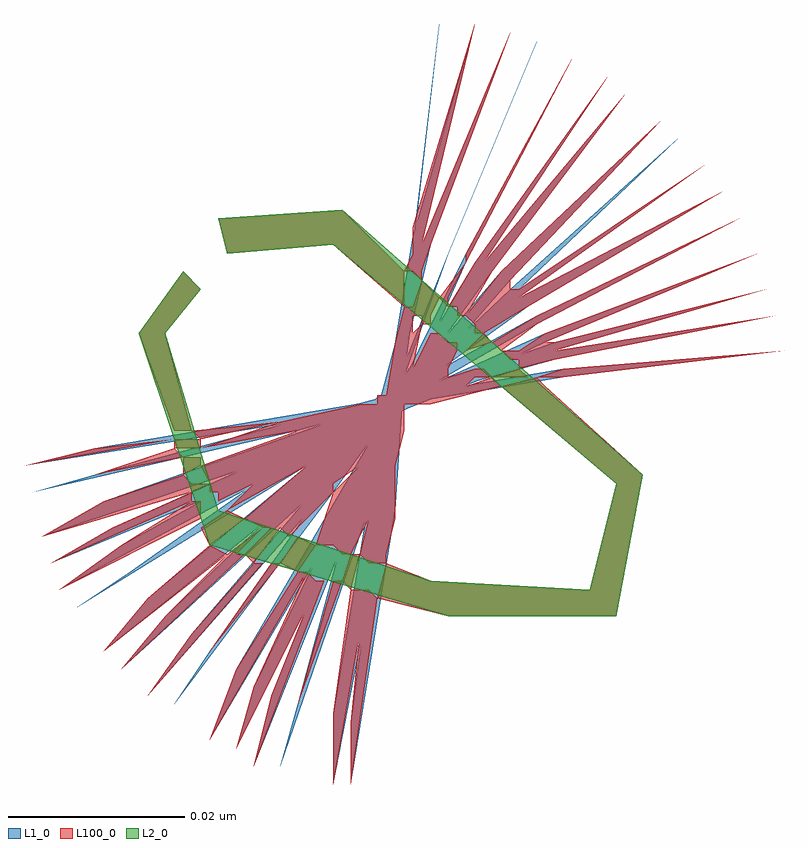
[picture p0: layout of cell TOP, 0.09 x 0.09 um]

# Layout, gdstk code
import gdstk
lib = gdstk.Library(unit=1e-6, precision=1e-09)
def P(c, l, *ps):  # polygons
    for p in ps: c.add(gdstk.Polygon(p, *l))
L1_0 = (1, 0)
L2_0 = (2, 0)
L100_0 = (100, 0)

top = lib.new_cell('TOP')
P(top, L1_0, [(0.366,0.324),(0.374,0.326),(0.427,0.335),(0.452,0.337),(0.427,0.334),(0.397,0.329)],
  [(0.367,0.321),(0.374,0.323),(0.426,0.337),(0.451,0.341),(0.426,0.336),(0.397,0.328)],
  [(0.368,0.316),(0.375,0.32),(0.426,0.338),(0.45,0.344),(0.426,0.337),(0.398,0.326)],
  [(0.369,0.313),(0.376,0.317),(0.425,0.339),(0.449,0.348),(0.425,0.338),(0.398,0.325)],
  [(0.37,0.31),(0.377,0.315),(0.424,0.341),(0.447,0.352),(0.424,0.34),(0.398,0.325)],
  [(0.372,0.308),(0.378,0.312),(0.422,0.343),(0.445,0.355),(0.423,0.342),(0.398,0.324)],
  [(0.375,0.303),(0.38,0.309),(0.422,0.344),(0.443,0.358),(0.422,0.343),(0.4,0.323)],
  [(0.377,0.301),(0.382,0.307),(0.421,0.344),(0.44,0.361),(0.421,0.343),(0.4,0.322)],
  [(0.38,0.298),(0.385,0.305),(0.42,0.346),(0.438,0.363),(0.421,0.345),(0.401,0.322)],
  [(0.383,0.297),(0.387,0.303),(0.418,0.347),(0.434,0.366),(0.419,0.346),(0.401,0.321)],
  [(0.387,0.293),(0.39,0.301),(0.417,0.347),(0.432,0.368),(0.418,0.347),(0.403,0.32)],
  [(0.39,0.292),(0.392,0.299),(0.416,0.348),(0.428,0.37),(0.416,0.347),(0.404,0.32)],
  [(0.392,0.29),(0.394,0.298),(0.414,0.348),(0.424,0.372),(0.414,0.348),(0.404,0.32)],
  [(0.395,0.29),(0.397,0.297),(0.411,0.349),(0.421,0.373),(0.412,0.349),(0.405,0.319)],
  [(0.403,0.288),(0.403,0.295),(0.41,0.349),(0.413,0.374),(0.41,0.348),(0.408,0.319)],
  [(0.401,0.288),(0.401,0.296),(0.41,0.35),(0.417,0.374),(0.411,0.349),(0.407,0.319)])
P(top, L2_0, [(0.414,0.307),(0.387,0.315),(0.379,0.339),(0.384,0.346),(0.386,0.344),(0.382,0.339),(0.388,0.319),(0.412,0.311),(0.43,0.31),(0.433,0.322),(0.401,0.349),(0.389,0.348),(0.388,0.352),(0.402,0.353),(0.436,0.323),(0.433,0.307)])
P(top, L100_0, [(0.401,0.288),(0.401,0.296),(0.403,0.31),(0.402,0.311),(0.397,0.297),(0.401,0.311),(0.402,0.311),(0.403,0.314),(0.402,0.314),(0.401,0.315),(0.399,0.315),(0.397,0.312),(0.398,0.312),(0.399,0.311),(0.4,0.311),(0.392,0.29),(0.394,0.298),(0.398,0.308),(0.39,0.292),(0.392,0.299),(0.398,0.312),(0.387,0.293),(0.39,0.301),(0.397,0.312),(0.395,0.313),(0.387,0.303),(0.394,0.313),(0.395,0.313),(0.397,0.316),(0.399,0.315),(0.401,0.321),(0.398,0.318),(0.391,0.318),(0.387,0.315),(0.389,0.314),(0.393,0.317),(0.391,0.318),(0.398,0.318),(0.396,0.316),(0.395,0.317),(0.393,0.317),(0.39,0.314),(0.391,0.314),(0.394,0.317),(0.395,0.317),(0.392,0.313),(0.393,0.313),(0.38,0.298),(0.385,0.305),(0.392,0.313),(0.391,0.314),(0.377,0.301),(0.382,0.307),(0.389,0.314),(0.375,0.303),(0.38,0.309),(0.387,0.315),(0.386,0.317),(0.389,0.319),(0.392,0.322),(0.388,0.32),(0.388,0.321),(0.387,0.321),(0.387,0.322),(0.385,0.321),(0.385,0.32),(0.386,0.32),(0.386,0.318),(0.37,0.31),(0.377,0.315),(0.385,0.32),(0.369,0.313),(0.376,0.317),(0.385,0.321),(0.368,0.316),(0.375,0.32),(0.384,0.323),(0.384,0.325),(0.374,0.323),(0.383,0.326),(0.383,0.327),(0.366,0.324),(0.374,0.326),(0.383,0.327),(0.386,0.327),(0.385,0.328),(0.383,0.328),(0.379,0.339),(0.384,0.346),(0.386,0.344),(0.382,0.339),(0.385,0.328),(0.395,0.329),(0.404,0.331),(0.406,0.331),(0.406,0.332),(0.407,0.332),(0.408,0.338),(0.409,0.342),(0.401,0.349),(0.389,0.348),(0.388,0.352),(0.402,0.353),(0.409,0.346),(0.41,0.348),(0.41,0.351),(0.417,0.374),(0.411,0.349),(0.421,0.373),(0.412,0.349),(0.411,0.346),(0.409,0.346),(0.409,0.342),(0.41,0.342),(0.411,0.345),(0.41,0.346),(0.411,0.346),(0.411,0.345),(0.413,0.343),(0.416,0.347),(0.416,0.348),(0.428,0.37),(0.416,0.347),(0.414,0.343),(0.413,0.343),(0.412,0.341),(0.41,0.341),(0.41,0.339),(0.411,0.34),(0.411,0.341),(0.412,0.341),(0.412,0.34),(0.411,0.34),(0.41,0.335),(0.412,0.339),(0.413,0.339),(0.414,0.338),(0.415,0.338),(0.415,0.337),(0.414,0.335),(0.414,0.334),(0.417,0.335),(0.418,0.335),(0.419,0.334),(0.422,0.335),(0.422,0.336),(0.421,0.336),(0.419,0.338),(0.416,0.337),(0.418,0.339),(0.417,0.339),(0.417,0.34),(0.416,0.341),(0.415,0.341),(0.415,0.342),(0.414,0.342),(0.413,0.343),(0.414,0.343),(0.414,0.342),(0.417,0.347),(0.432,0.368),(0.418,0.347),(0.434,0.366),(0.419,0.346),(0.416,0.341),(0.42,0.346),(0.438,0.363),(0.421,0.345),(0.421,0.344),(0.422,0.344),(0.443,0.358),(0.422,0.343),(0.445,0.355),(0.423,0.342),(0.418,0.339),(0.419,0.338),(0.424,0.341),(0.447,0.352),(0.424,0.34),(0.42,0.337),(0.422,0.337),(0.425,0.339),(0.449,0.348),(0.425,0.338),(0.426,0.338),(0.45,0.344),(0.426,0.337),(0.451,0.341),(0.426,0.336),(0.422,0.335),(0.423,0.334),(0.417,0.334),(0.416,0.333),(0.419,0.334),(0.42,0.333),(0.424,0.334),(0.427,0.335),(0.452,0.337),(0.427,0.334),(0.424,0.334),(0.425,0.333),(0.42,0.333),(0.412,0.331),(0.409,0.331),(0.409,0.329),(0.395,0.329),(0.386,0.327),(0.386,0.326),(0.395,0.329),(0.409,0.329),(0.409,0.328),(0.397,0.328),(0.386,0.326),(0.383,0.326),(0.384,0.325),(0.386,0.325),(0.386,0.324),(0.397,0.328),(0.409,0.328),(0.408,0.324),(0.386,0.324),(0.384,0.323),(0.385,0.322),(0.387,0.322),(0.386,0.324),(0.398,0.324),(0.389,0.319),(0.391,0.318),(0.398,0.324),(0.404,0.324),(0.401,0.322),(0.401,0.321),(0.404,0.324),(0.408,0.324),(0.408,0.318),(0.405,0.318),(0.403,0.314),(0.404,0.314),(0.405,0.318),(0.408,0.318),(0.407,0.314),(0.404,0.314),(0.403,0.31),(0.405,0.31),(0.406,0.309),(0.407,0.313),(0.405,0.313),(0.404,0.314),(0.407,0.314),(0.407,0.313),(0.412,0.311),(0.43,0.31),(0.433,0.322),(0.42,0.333),(0.425,0.333),(0.436,0.323),(0.433,0.307),(0.414,0.307),(0.406,0.309),(0.403,0.288),(0.403,0.295),(0.404,0.305)])

lib.write_gds('TOP.gds')
